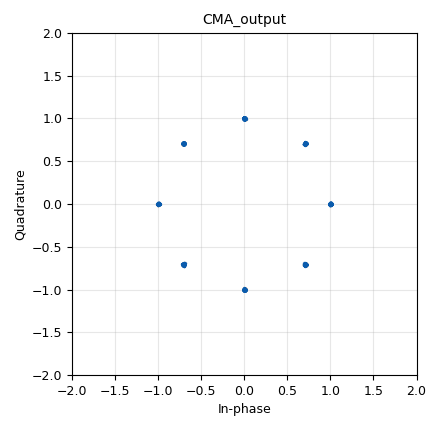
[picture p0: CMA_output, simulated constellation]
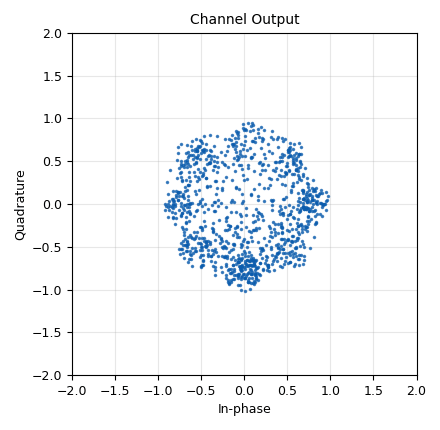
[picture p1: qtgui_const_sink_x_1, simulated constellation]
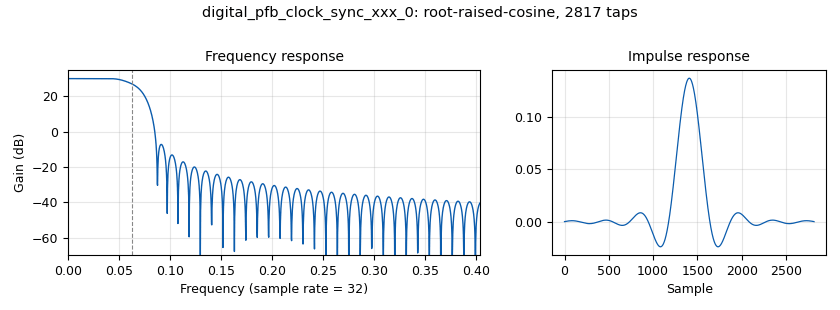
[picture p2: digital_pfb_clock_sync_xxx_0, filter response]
<?xml version='1.0' encoding='utf-8'?>
<?grc format='1' created='3.7.10'?>
<flow_graph>
<block>
<key>options</key>
<param><key>id</key><value>top_block</value></param>
<param><key>category</key><value>Custom</value></param>
<param><key>generate_options</key><value>qt_gui</value></param>
</block>
<block>
<key>variable</key>
<param><key>id</key><value>arity</value></param>
<param><key>value</key><value>8</value></param>
</block>
<block>
<key>variable_qtgui_range</key>
<param><key>id</key><value>eq_gain</value></param>
<param><key>value</key><value>.01</value></param>
<param><key>gui_hint</key><value>3,1,1,1</value></param>
<param><key>orient</key><value>Qt.Horizontal</value></param>
<param><key>start</key><value>0.0</value></param>
<param><key>step</key><value>0.001</value></param>
<param><key>stop</key><value>0.1</value></param>
</block>
<block>
<key>variable_qtgui_range</key>
<param><key>id</key><value>frequency_offset</value></param>
<param><key>value</key><value>0</value></param>
<param><key>gui_hint</key><value>1,1,1,1</value></param>
<param><key>orient</key><value>Qt.Horizontal</value></param>
<param><key>start</key><value>-100e-3</value></param>
<param><key>step</key><value>1e-3</value></param>
<param><key>stop</key><value>100e-3</value></param>
</block>
<block>
<key>variable</key>
<param><key>id</key><value>nfilts</value></param>
<param><key>value</key><value>32</value></param>
</block>
<block>
<key>variable_qtgui_range</key>
<param><key>id</key><value>noise_voltage</value></param>
<param><key>value</key><value>100e-6</value></param>
<param><key>gui_hint</key><value>2,0,1,2</value></param>
<param><key>orient</key><value>Qt.Horizontal</value></param>
<param><key>start</key><value>0</value></param>
<param><key>step</key><value>10e-3</value></param>
<param><key>stop</key><value>1</value></param>
</block>
<block>
<key>variable</key>
<param><key>id</key><value>rrc_taps</value></param>
<param><key>value</key><value>firdes.root_raised_cosine(nfilts,nfilts,1.0/float(sps),0.35,11*sps*nfilts)</value></param>
</block>
<block>
<key>variable</key>
<param><key>id</key><value>samp_rate</value></param>
<param><key>value</key><value>32000</value></param>
</block>
<block>
<key>variable</key>
<param><key>id</key><value>samp_rate_0</value></param>
<param><key>value</key><value>3.2e6</value></param>
</block>
<block>
<key>variable</key>
<param><key>id</key><value>sps</value></param>
<param><key>value</key><value>8</value></param>
</block>
<block>
<key>variable</key>
<param><key>id</key><value>taps</value></param>
<param><key>value</key><value>1</value></param>
</block>
<block>
<key>variable_qtgui_range</key>
<param><key>id</key><value>timing_loop_bw</value></param>
<param><key>value</key><value>6.28/100.0</value></param>
<param><key>gui_hint</key><value>3,0,1,1</value></param>
<param><key>orient</key><value>Qt.Horizontal</value></param>
<param><key>start</key><value>0</value></param>
<param><key>step</key><value>0.01</value></param>
<param><key>stop</key><value>0.2</value></param>
</block>
<block>
<key>variable_qtgui_range</key>
<param><key>id</key><value>timing_offset</value></param>
<param><key>value</key><value>1</value></param>
<param><key>gui_hint</key><value>1,0,1,1</value></param>
<param><key>orient</key><value>Qt.Horizontal</value></param>
<param><key>start</key><value>0.999</value></param>
<param><key>step</key><value>0.0001</value></param>
<param><key>stop</key><value>1.001</value></param>
</block>
<block>
<key>qtgui_const_sink_x</key>
<param><key>id</key><value>CMA_output</value></param>
<param><key>gui_hint</key><value>4,1,1,1</value></param>
<param><key>name</key><value>"CMA_output"</value></param>
<param><key>size</key><value>1024</value></param>
<param><key>type</key><value>complex</value></param>
</block>
<block>
<key>analog_random_source_x</key>
<param><key>id</key><value>analog_random_source_x_0</value></param>
<param><key>max</key><value>256</value></param>
<param><key>min</key><value>0</value></param>
<param><key>num_samps</key><value>1000</value></param>
<param><key>type</key><value>byte</value></param>
<param><key>repeat</key><value>True</value></param>
</block>
<block>
<key>blocks_multiply_const_vxx</key>
<param><key>id</key><value>blocks_multiply_const_vxx_0</value></param>
<param><key>const</key><value>0.5+0.5j</value></param>
<param><key>type</key><value>complex</value></param>
</block>
<block>
<key>blocks_throttle</key>
<param><key>id</key><value>blocks_throttle_0</value></param>
<param><key>samples_per_second</key><value>samp_rate</value></param>
<param><key>type</key><value>complex</value></param>
</block>
<block>
<key>channels_channel_model</key>
<param><key>id</key><value>channels_channel_model_0</value></param>
<param><key>epsilon</key><value>timing_offset</value></param>
<param><key>freq_offset</key><value>frequency_offset</value></param>
<param><key>noise_voltage</key><value>noise_voltage</value></param>
<param><key>seed</key><value>0</value></param>
<param><key>taps</key><value>taps</value></param>
</block>
<block>
<key>digital_cma_equalizer_cc</key>
<param><key>id</key><value>digital_cma_equalizer_cc_0</value></param>
<param><key>mu</key><value>eq_gain</value></param>
<param><key>modulus</key><value>1</value></param>
<param><key>num_taps</key><value>15</value></param>
<param><key>sps</key><value>2</value></param>
</block>
<block>
<key>digital_pfb_clock_sync_xxx</key>
<param><key>id</key><value>digital_pfb_clock_sync_xxx_0</value></param>
<param><key>filter_size</key><value>nfilts</value></param>
<param><key>init_phase</key><value>16</value></param>
<param><key>loop_bw</key><value>timing_loop_bw</value></param>
<param><key>max_dev</key><value>1.5</value></param>
<param><key>osps</key><value>1</value></param>
<param><key>sps</key><value>sps</value></param>
<param><key>taps</key><value>rrc_taps</value></param>
<param><key>type</key><value>ccf</value></param>
</block>
<block>
<key>digital_psk_mod</key>
<param><key>id</key><value>digital_psk_mod_0</value></param>
<param><key>differential</key><value>True</value></param>
<param><key>excess_bw</key><value>0.35</value></param>
<param><key>mod_code</key><value>"gray"</value></param>
<param><key>constellation_points</key><value>arity</value></param>
<param><key>samples_per_symbol</key><value>sps</value></param>
</block>
<block>
<key>qtgui_const_sink_x</key>
<param><key>id</key><value>qtgui_const_sink_x_1</value></param>
<param><key>gui_hint</key><value>4,0,1,1</value></param>
<param><key>name</key><value>"Channel Output"</value></param>
<param><key>size</key><value>1024</value></param>
<param><key>type</key><value>complex</value></param>
</block>
<connection><source_block_id>analog_random_source_x_0</source_block_id><sink_block_id>digital_psk_mod_0</sink_block_id><source_key>0</source_key><sink_key>0</sink_key></connection>
<connection><source_block_id>blocks_multiply_const_vxx_0</source_block_id><sink_block_id>blocks_throttle_0</sink_block_id><source_key>0</source_key><sink_key>0</sink_key></connection>
<connection><source_block_id>blocks_throttle_0</source_block_id><sink_block_id>channels_channel_model_0</sink_block_id><source_key>0</source_key><sink_key>0</sink_key></connection>
<connection><source_block_id>channels_channel_model_0</source_block_id><sink_block_id>digital_pfb_clock_sync_xxx_0</sink_block_id><source_key>0</source_key><sink_key>0</sink_key></connection>
<connection><source_block_id>channels_channel_model_0</source_block_id><sink_block_id>qtgui_const_sink_x_1</sink_block_id><source_key>0</source_key><sink_key>0</sink_key></connection>
<connection><source_block_id>digital_cma_equalizer_cc_0</source_block_id><sink_block_id>CMA_output</sink_block_id><source_key>0</source_key><sink_key>0</sink_key></connection>
<connection><source_block_id>digital_pfb_clock_sync_xxx_0</source_block_id><sink_block_id>digital_cma_equalizer_cc_0</sink_block_id><source_key>0</source_key><sink_key>0</sink_key></connection>
<connection><source_block_id>digital_psk_mod_0</source_block_id><sink_block_id>blocks_multiply_const_vxx_0</sink_block_id><source_key>0</source_key><sink_key>0</sink_key></connection>
</flow_graph>
